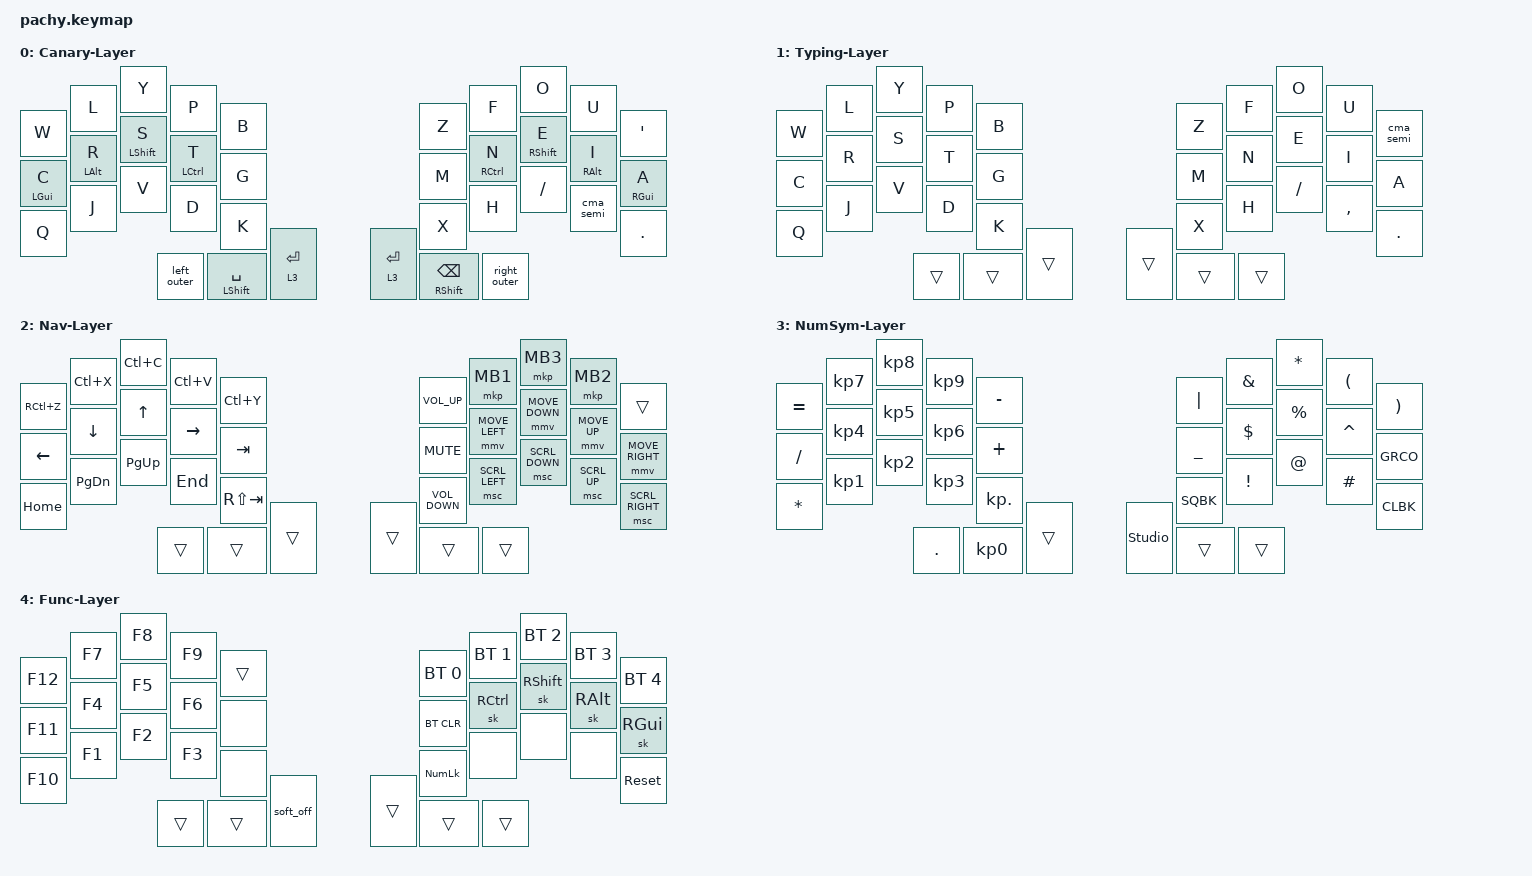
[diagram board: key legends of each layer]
/*
 * Copyright (c) 2020 The ZMK Contributors
 *
 * SPDX-License-Identifier: MIT
 */

#include <behaviors.dtsi>
#include <dt-bindings/zmk/bt.h>
#include <dt-bindings/zmk/keys.h>
#include <dt-bindings/zmk/pointing.h>

&soft_off {
    hold-time-ms = <2000>; // Only turn off it the key is held for 2 seconds or longer.
};

/ {
    combos {
        compatible = "zmk,combos";

        QFTILDE {
            bindings = <&kp GRAVE>;
            key-positions = <0 2>;
        };

        TAB_BACK {
            bindings = <&kp LS(TAB)>;
            key-positions = <20 21>;
        };

        CAPSWORD {
            bindings = <&caps_word>;
            key-positions = <34 31>;
            timeout-ms = <0>;
        };

        BKSLH {
            bindings = <&kp BACKSLASH>;
            key-positions = <9 8>;
        };

        corner_esc {
            bindings = <&gresc>;
            key-positions = <0 1>;
        };

        lower_del {
            bindings = <&kp DEL>;
            key-positions = <21 23>;
        };

        cm_zero {
            bindings = <&kp N0>;
            key-positions = <22 23>;
        };

        cm_dot {
            bindings = <&kp PERIOD>;
            key-positions = <21 22>;
        };

        capsword2 {
            bindings = <&caps_word>;
            key-positions = <30 33>;
        };
    };

    macros {
        SQBK: SQBK {
            compatible = "zmk,behavior-macro";
            #binding-cells = <0>;
            bindings = <&kp LEFT_BRACKET &kp RIGHT_BRACKET &kp LEFT>;
            label = "SQBK";
        };

        CLBK: CLBK {
            compatible = "zmk,behavior-macro";
            #binding-cells = <0>;
            bindings = <&kp LEFT_BRACE &kp RIGHT_BRACE &kp LEFT>;
            label = "CLBK";
        };

        GRCO: GRCO {
            compatible = "zmk,behavior-macro";
            #binding-cells = <0>;
            bindings = <&kp LEFT_PARENTHESIS &kp DOUBLE_QUOTES &kp GRAVE>;
            label = "GRCO";
        };
    };

    behaviors {
        hrl: hrl {
            compatible = "zmk,behavior-hold-tap";
            label = "HRL";
            bindings = <&kp>, <&kp>;

            #binding-cells = <2>;
            tapping-term-ms = <300>;
            hold-trigger-key-positions = <6 7 8 9 18 19 36 5 5 9 15 16 17 18 19 25 26 27 28 29 33 34 35 32 31 30>;
            flavor = "balanced";
            quick-tap-ms = <175>;
            require-prior-idle-ms = <75>;
            hold-trigger-on-release;
        };

        hrr: hrr {
            compatible = "zmk,behavior-hold-tap";
            label = "HRR";
            bindings = <&kp>, <&kp>;

            #binding-cells = <2>;
            tapping-term-ms = <300>;
            quick-tap-ms = <175>;
            require-prior-idle-ms = <75>;
            flavor = "balanced";
            hold-trigger-on-release;
            hold-trigger-key-positions = <4 12 13 14 24 3 2 0 1 36 10 11 20 21 22 23 30 31 32 33 34 35>;
        };

        cma_semi: cma_semi {
            compatible = "zmk,behavior-tap-dance";
            label = "CMA_SEMI";
            #binding-cells = <0>;
            bindings = <&kp COMMA>, <&kp SEMICOLON>;

            tapping-term-ms = <175>;
        };

        left_outer: left_outer {
            compatible = "zmk,behavior-tap-dance";
            label = "LEFT_OUTER";
            #binding-cells = <0>;
            bindings = <&lt 2 DELETE>, <&kp LEFT_BRACKET>;

            tapping-term-ms = <175>;
        };

        right_outer: right_outer {
            compatible = "zmk,behavior-tap-dance";
            label = "RIGHT_OUTER";
            #binding-cells = <0>;
            tapping-term-ms = <175>;
            bindings = <&lt 2 INS>, <&kp RIGHT_BRACKET>;
        };
    };

    keymap {
        compatible = "zmk,keymap";

        Canary-Layer {
            // -------------------------------------------------------------------------------------
            // |  TAB |  Q  |  W  |  E  |  R  |  T  |   |  Y  |  U   |  I  |  O  |  P  |   BKSP    |
            // | CTRL |  A  |  S  |  D  |  F  |  G  |   |  H  |  J   |  K  |  L  |  ;  |    '      |
            // | SHFT |  Z  |  X  |  C  |  V  |  B  |   |  N  |  M   |  ,  |  .  |  /  | SHFT(RET) |
            //                         | ALT | LWR | SPC | RSE  | ALT |

            bindings = <
&kp W  &kp L  &kp Y  &kp P  &kp B  &kp Z  &kp F  &kp O  &kp U  &kp APOS  &hrl LGUI C  &hrl LALT R  &hrl LSHFT S  &hrl LCTRL T  &kp G  &kp M  &hrr RCTRL N  &hrr RSHFT E  &hrr RALT I  &hrr RGUI A  &kp Q  &kp J  &kp V  &kp D  &kp K  &kp X  &kp H  &kp SLASH  &cma_semi  &kp PERIOD  &left_outer  &hrl LSHFT SPACE  &lt 3 ENTER  &lt 3 ENTER  &hrr RSHFT BACKSPACE  &right_outer
            >;
        };

        Typing-Layer {
            // -------------------------------------------------------------------------------------
            // |  TAB |  Q  |  W  |  E  |  R  |  T  |   |  Y  |  U   |  I  |  O  |  P  |   BKSP    |
            // | CTRL |  A  |  S  |  D  |  F  |  G  |   |  H  |  J   |  K  |  L  |  ;  |    '      |
            // | SHFT |  Z  |  X  |  C  |  V  |  B  |   |  N  |  M   |  ,  |  .  |  /  | SHFT(RET) |
            //                         | ALT | LWR | SPC | RSE  | ALT |

            bindings = <
&kp W  &kp L  &kp Y  &kp P  &kp B  &kp Z  &kp F  &kp O  &kp U  &cma_semi  &kp C  &kp R  &kp S  &kp T  &kp G  &kp M  &kp N  &kp E  &kp I  &kp A  &kp Q  &kp J  &kp V  &kp D  &kp K  &kp X  &kp H  &kp SLASH  &kp COMMA  &kp PERIOD  &trans  &trans  &trans  &trans  &trans  &trans
            >;
        };

        Nav-Layer {
            // ------------------------------------------------------------------------------------
            // |    |  !  |  @  |  #  |  $  |  %  |   |  ^  |  &  |  *  |  (  |  )  |      DEL    |
            // |    |  _  |  +  |  {  |  }  | "|" |   | LFT | DWN |  UP | RGT |  `  |       ~     |
            // |    | ESC | GUI | ALT | CAPS|  "  |   | HOME| END | PGUP| PGDN| PRSC| SHFT(SPACE) |
            //                       |     |     | RET | ADJ |     |

            bindings = <
&kp RC(Z)  &kp LC(X)  &kp LC(C)  &kp LC(V)  &kp LC(Y)  &kp C_VOLUME_UP  &mkp MB1  &mkp MB3  &mkp MB2  &trans  &kp LEFT  &kp DOWN  &kp UP  &kp RIGHT  &kp TAB  &kp K_MUTE  &mmv MOVE_LEFT  &mmv MOVE_DOWN  &mmv MOVE_UP  &mmv MOVE_RIGHT  &kp HOME  &kp PG_DN  &kp PG_UP  &kp END  &kp RS(TAB)  &kp C_VOLUME_DOWN  &msc SCRL_LEFT  &msc SCRL_DOWN  &msc SCRL_UP  &msc SCRL_RIGHT  &trans  &trans  &trans  &trans  &trans  &trans
            >;
        };

        NumSym-Layer {
            // ----------------------------------------------------------------------------
            // |    |  1  |  2  |  3  |  4  |  5  |   |  6  |  7  |  8  |  9  |  0  | DEL |
            // |    |  -  |  =  |  [  |  ]  |  \  |   | F1  | F2  | F3  | F4  | F5  | F6  |
            // |    | ESC | GUI | ALT | CAPS|  "  |   | F7  | F8  | F9  | F10 | F11 | F12 |
            //                       |     | ADJ | BKSP |    |     |

            bindings = <
&kp EQUAL  &kp KP_NUMBER_7  &kp KP_NUMBER_8  &kp KP_NUMBER_9  &kp MINUS  &kp PIPE  &kp AMPS  &kp ASTRK  &kp LPAR  &kp RPAR  &kp SLASH  &kp KP_NUMBER_4  &kp KP_NUMBER_5  &kp KP_NUMBER_6  &kp PLUS  &kp UNDERSCORE  &kp DLLR  &kp PRCNT  &kp CARET  &GRCO  &kp ASTERISK  &kp KP_NUMBER_1  &kp KP_NUMBER_2  &kp KP_NUMBER_3  &kp KP_DOT  &SQBK  &kp EXCL  &kp AT  &kp HASH  &CLBK  &kp DOT  &kp KP_NUMBER_0  &trans  &studio_unlock  &trans  &trans
            >;
        };

        Func-Layer {
            // -----------------------------------------------------------------------------------------
            // | RGB BRI+ | RGB SAT+ | RGB HUE+ | RGB ANI+ |    | RGB TOG |   |  BT1  | BT2 | BT3 | BT4 | BT5 | BT CLR |
            // | RGB BRI- | RGB SAT- | RGB HUE- | RGB ANI- |    |         |   |       |     |     |     |     |        |
            // |          |          |          |          |    |         |   | RESET |     |     |     |     |        |
            //                                              |     |     |     |     |     |

            bindings = <
&kp F12  &kp F7  &kp F8  &kp F9  &trans  &bt BT_SEL 0  &bt BT_SEL 1  &bt BT_SEL 2  &bt BT_SEL 3  &bt BT_SEL 4  &kp F11  &kp F4  &kp F5  &kp F6  &none  &bt BT_CLR  &sk RCTRL  &sk RSHFT  &sk RALT  &sk RGUI  &kp F10  &kp F1  &kp F2  &kp F3  &none  &kp KP_NUMLOCK  &none  &none  &none  &sys_reset  &trans  &trans  &soft_off  &trans  &trans  &trans
            >;
        };
    };
};
